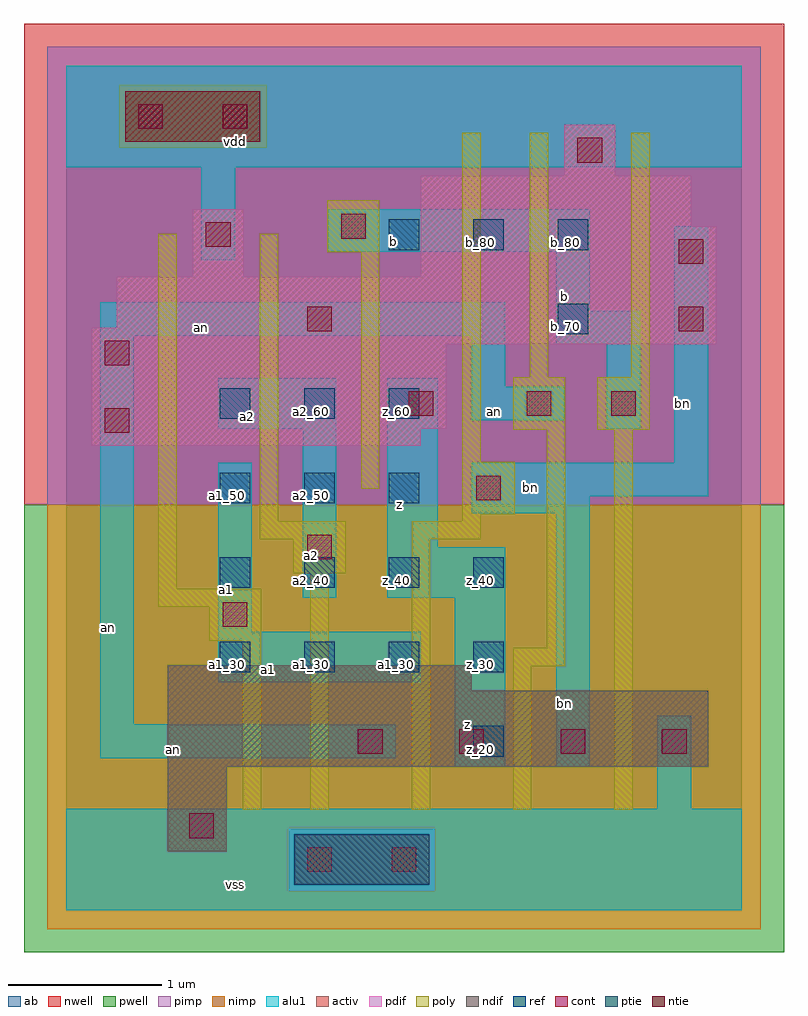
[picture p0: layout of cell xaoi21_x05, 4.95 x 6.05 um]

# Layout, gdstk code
import gdstk
lib = gdstk.Library(unit=1e-6, precision=2.5e-09)
def R(c, l, rs):  # rectangles x0, y0, x1, y1
    for r in rs: c.add(gdstk.rectangle(r[:2], r[2:], *l))
def A(c, l, x, y, w, h, nx, ny, dx, dy):  # array of equal rectangles
    R(c, l, [(x+i*dx, y+j*dy, x+i*dx+w, y+j*dy+h) for i in range(nx) for j in range(ny)])
ndif = (3, 0)
pdif = (4, 0)
ntie = (5, 0)
ptie = (6, 0)
ref = (24, 0)
cont = (25, 0)
pwell = (41, 0)
nwell = (42, 0)
activ = (43, 0)
pimp = (44, 0)
nimp = (45, 0)
poly = (46, 0)
alu1 = (49, 0)
ab = (63, 0)

xaoi21_x05 = lib.new_cell('xaoi21_x05')
R(xaoi21_x05, ndif, [(0.66,0.385,1.045,0.935), (0.66,0.935,4.18,1.43), (0.66,1.43,2.64,1.595)])
R(xaoi21_x05, pdif, [(0.165,3.025,2.31,3.135), (0.165,3.135,2.475,3.685), (0.165,3.685,4.235,3.795), (0.33,3.795,4.235,4.125), (0.825,4.125,1.155,4.565), (2.31,4.125,4.235,4.455), (2.31,4.455,4.07,4.785), (3.245,4.785,3.575,5.115)])
R(xaoi21_x05, ntie, [(0.385,5.005,1.265,5.335)])
R(xaoi21_x05, ptie, [(1.485,0.165,2.365,0.495)])
A(xaoi21_x05, ref, 1, 1.55, 0.2, 0.2, 4, 2, 0.55, 0.55)
A(xaoi21_x05, ref, 1, 2.65, 0.2, 0.2, 3, 2, 0.55, 0.55)
A(xaoi21_x05, ref, 2.1, 4.3, 0.2, 0.2, 3, 1, 0.55, 0)
R(xaoi21_x05, ref, [(2.65,1,2.85,1.2), (3.2,3.75,3.4,3.95)])
A(xaoi21_x05, cont, 1.9, 1.02, 0.16, 0.16, 4, 1, 0.66, 0)
R(xaoi21_x05, cont, [(1.57,0.25,1.73,0.41), (2.12,0.25,2.28,0.41), (0.8,0.47,0.96,0.63), (1.02,1.845,1.18,2.005), (1.57,2.285,1.73,2.445), (2.67,2.67,2.83,2.83), (0.25,3.11,0.41,3.27), (2.23,3.22,2.39,3.38), (3,3.22,3.16,3.38), (3.55,3.22,3.71,3.38), (0.25,3.55,0.41,3.71), (1.57,3.77,1.73,3.93), (3.99,3.77,4.15,3.93), (3.99,4.21,4.15,4.37), (0.91,4.32,1.07,4.48), (1.79,4.375,1.95,4.535), (3.33,4.87,3.49,5.03), (0.47,5.09,0.63,5.25), (1.02,5.09,1.18,5.25)])
R(xaoi21_x05, pwell, [(-0.275,-0.275,4.675,2.64)])
R(xaoi21_x05, nwell, [(-0.275,2.64,4.675,5.775)])
R(xaoi21_x05, activ, [(1.485,0.165,2.365,0.495), (0.66,0.385,1.045,0.935), (0.66,0.935,4.18,1.43), (0.66,1.43,2.64,1.595), (0.165,3.025,2.31,3.135), (0.165,3.135,2.475,3.685), (0.165,3.685,4.235,3.795), (0.33,3.795,4.235,4.125), (0.825,4.125,1.155,4.565), (2.31,4.125,4.235,4.455), (2.31,4.455,4.07,4.785), (3.245,4.785,3.575,5.115), (0.385,5.005,1.265,5.335)])
R(xaoi21_x05, pimp, [(1.445,0.125,2.405,0.535), (-0.125,2.64,4.525,4.965), (-0.125,4.965,0.345,5.375), (1.305,4.965,4.525,5.375), (-0.125,5.375,4.525,5.625)])
R(xaoi21_x05, nimp, [(-0.125,-0.125,4.525,0.125), (-0.125,0.125,1.445,0.535), (2.405,0.125,4.525,0.535), (-0.125,0.535,4.525,2.64), (0.345,4.965,1.305,5.375)])
R(xaoi21_x05, poly, [(1.15,0.655,1.27,1.755), (1.59,0.655,1.71,2.195), (2.25,0.655,2.37,2.415), (2.91,0.655,3.03,1.59), (3.57,0.655,3.69,3.13), (2.91,1.59,3.25,1.71), (3.13,1.71,3.25,3.13), (0.93,1.755,1.27,1.975), (0.6,1.975,1.27,2.095), (0.6,2.095,0.72,4.405), (1.48,2.195,1.82,2.415), (1.26,2.415,1.82,2.535), (2.25,2.415,2.7,2.535), (1.26,2.535,1.38,4.405), (2.58,2.535,2.7,2.58), (2.58,2.58,2.92,2.92), (1.92,2.745,2.04,4.285), (2.58,2.92,2.7,5.065), (2.91,3.13,3.25,3.47), (3.46,3.13,3.8,3.47), (3.02,3.47,3.14,5.065), (3.68,3.47,3.8,5.065), (1.7,4.285,2.04,4.625)])
R(xaoi21_x05, alu1, [(0,0,4.4,0.66), (3.85,0.66,4.07,1.265), (2.53,0.935,2.86,2.035), (3.19,0.935,3.41,2.585), (0.22,0.99,2.145,1.21), (0.22,1.21,0.44,3.74), (0.99,1.485,2.31,1.815), (0.99,1.815,1.21,2.915), (1.54,2.035,1.76,3.135), (2.09,2.035,2.86,2.365), (2.09,2.365,2.42,3.465), (2.64,2.585,3.41,2.695), (2.64,2.695,4.18,2.915), (3.96,2.915,4.18,4.455), (0.99,3.135,1.76,3.465), (3.52,3.135,3.74,3.685), (2.64,3.19,3.245,3.41), (2.64,3.41,2.86,3.74), (3.19,3.685,3.74,3.905), (0.22,3.74,2.86,3.96), (3.19,3.905,3.41,4.29), (0.88,4.235,1.1,4.84), (1.705,4.29,3.41,4.565), (0,4.84,4.4,5.5)])
R(xaoi21_x05, ab, [(0,0,4.4,5.5)])
xaoi21_x05.add(gdstk.Label('vss', (1.1,0.165), layer=49, texttype=0))
xaoi21_x05.add(gdstk.Label('bn', (3.245,1.3475), layer=49, texttype=0))
xaoi21_x05.add(gdstk.Label('z', (2.6125,1.21), layer=49, texttype=0))
xaoi21_x05.add(gdstk.Label('an', (0.7,1.045), layer=49, texttype=0))
xaoi21_x05.add(gdstk.Label('a1', (1.32,1.5675), layer=49, texttype=0))
xaoi21_x05.add(gdstk.Label('bn', (3.025,2.75), layer=49, texttype=0))
xaoi21_x05.add(gdstk.Label('bn', (4.015,3.3), layer=49, texttype=0))
xaoi21_x05.add(gdstk.Label('an', (2.79,3.245), layer=49, texttype=0))
xaoi21_x05.add(gdstk.Label('b', (3.245,4), layer=49, texttype=0))
xaoi21_x05.add(gdstk.Label('z', (2.1725,2.64), layer=49, texttype=0))
xaoi21_x05.add(gdstk.Label('a2', (1.595,2.31), layer=49, texttype=0))
xaoi21_x05.add(gdstk.Label('a1', (1.045,2.09), layer=49, texttype=0))
xaoi21_x05.add(gdstk.Label('a2', (1.1825,3.2175), layer=49, texttype=0))
xaoi21_x05.add(gdstk.Label('an', (0.275,1.8425), layer=49, texttype=0))
xaoi21_x05.add(gdstk.Label('an', (0.88,3.795), layer=49, texttype=0))
xaoi21_x05.add(gdstk.Label('b', (2.13,4.3575), layer=49, texttype=0))
xaoi21_x05.add(gdstk.Label('vdd', (1.1,5.005), layer=49, texttype=0))
xaoi21_x05.add(gdstk.Label('a1_50', (1.05,2.7), layer=24, texttype=0))
xaoi21_x05.add(gdstk.Label('a1_40', (1.05,2.15), layer=24, texttype=0))
xaoi21_x05.add(gdstk.Label('a1_30', (1.05,1.6), layer=24, texttype=0))
xaoi21_x05.add(gdstk.Label('a1_30', (1.6,1.6), layer=24, texttype=0))
xaoi21_x05.add(gdstk.Label('a1_30', (2.15,1.6), layer=24, texttype=0))
xaoi21_x05.add(gdstk.Label('a2_40', (1.6,2.15), layer=24, texttype=0))
xaoi21_x05.add(gdstk.Label('a2_50', (1.6,2.7), layer=24, texttype=0))
xaoi21_x05.add(gdstk.Label('a2_60', (1.6,3.25), layer=24, texttype=0))
xaoi21_x05.add(gdstk.Label('a2_60', (1.05,3.25), layer=24, texttype=0))
xaoi21_x05.add(gdstk.Label('z_60', (2.15,3.25), layer=24, texttype=0))
xaoi21_x05.add(gdstk.Label('z_50', (2.15,2.7), layer=24, texttype=0))
xaoi21_x05.add(gdstk.Label('z_40', (2.15,2.15), layer=24, texttype=0))
xaoi21_x05.add(gdstk.Label('z_40', (2.7,2.15), layer=24, texttype=0))
xaoi21_x05.add(gdstk.Label('z_30', (2.7,1.6), layer=24, texttype=0))
xaoi21_x05.add(gdstk.Label('z_20', (2.7,1.05), layer=24, texttype=0))
xaoi21_x05.add(gdstk.Label('b_70', (3.25,3.8), layer=24, texttype=0))
xaoi21_x05.add(gdstk.Label('b_80', (3.25,4.35), layer=24, texttype=0))
xaoi21_x05.add(gdstk.Label('b_80', (2.7,4.35), layer=24, texttype=0))
xaoi21_x05.add(gdstk.Label('b_80', (2.15,4.35), layer=24, texttype=0))

lib.write_gds('xaoi21_x05.gds')
